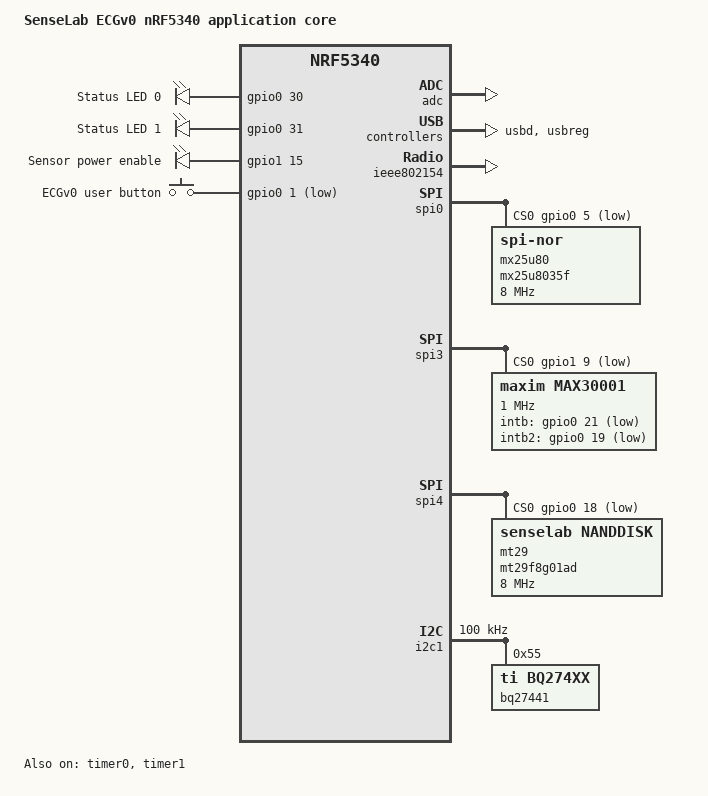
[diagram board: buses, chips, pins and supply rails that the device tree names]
/dts-v1/;

#include <nordic/nrf5340_cpuapp_qkaa.dtsi>
#include <zephyr/dt-bindings/gpio/gpio.h>
#include <zephyr/dt-bindings/i2c/i2c.h>
#include <zephyr/dt-bindings/regulator/nrf5x.h>
#include "ecgv0_nrf5340-pinctrl.dtsi"
#include "../common/nrf5340-icm20948.dtsi"

/ {
	model = "SenseLab ECGv0 nRF5340 application core";
	compatible = "senselab,ecgv0-nrf5340-cpuapp";

	chosen {
		zephyr,console = &cdc_acm_uart0;
		zephyr,shell-uart = &cdc_acm_uart0;
		zephyr,bt-hci = &bt_hci_ipc0;
		nordic,802154-spinel-ipc = &ipc0;
		zephyr,ieee802154 = &ieee802154;
		zephyr,flash = &flash0;
		zephyr,sram = &sram0_image;
		zephyr,code-partition = &slot0_partition;
		zephyr,sram-secure-partition = &sram0_s;
		zephyr,sram-non-secure-partition = &sram0_ns;
	};

	aliases {
		led0 = &led0;
		led1 = &led1;
		led2 = &ppg_power;
		user-button = &button0;
		ecg = &max30001;
		ecg-bus = &spi3;
		imu = &icm20948;
		imu-bus = &spi2;
		battery-gauge = &bq27441;
		battery-bus = &i2c1;
		storage-nand = &mt29;
		storage-nor = &mx25u80;
		spi-flash0 = &mt29;
		spi-flash1 = &mx25u80;
		gpio0 = &gpio0;
		gpio1 = &gpio1;
	};

	leds {
		compatible = "gpio-leds";

		led0: led_0 {
			gpios = <&gpio0 30 GPIO_ACTIVE_HIGH>;
			label = "Status LED 0";
		};

		led1: led_1 {
			gpios = <&gpio0 31 GPIO_ACTIVE_HIGH>;
			label = "Status LED 1";
		};

		ppg_power: ppg_power {
			gpios = <&gpio1 15 GPIO_ACTIVE_HIGH>;
			label = "Sensor power enable";
		};
	};

	buttons {
		compatible = "gpio-keys";

		button0: button_0 {
			gpios = <&gpio0 1 (GPIO_PULL_UP | GPIO_ACTIVE_LOW)>;
			label = "ECGv0 user button";
		};
	};
};

&adc { status = "okay"; };
&gpiote { status = "okay"; };
&gpio0 { status = "okay"; };
&gpio1 { status = "okay"; };
&timer0 { status = "okay"; };
&timer1 { status = "okay"; };

&uicr { nfct-pins-as-gpios; };
&vregmain { regulator-initial-mode = <NRF5X_REG_MODE_LDO>; };
&vregradio { regulator-initial-mode = <NRF5X_REG_MODE_LDO>; };
&vregh { status = "disabled"; };

&uart0 { status = "disabled"; };
zephyr_udc0: &usbd {
	compatible = "nordic,nrf-usbd";
	status = "okay";

	cdc_acm_uart0: cdc_acm_uart0 {
		compatible = "zephyr,cdc-acm-uart";
	};
};
&usbreg { status = "okay"; };

&ipc0 { status = "okay"; };
&ieee802154 { status = "okay"; };

&spi0 {
	compatible = "nordic,nrf-spim";
	status = "okay";
	cs-gpios = <&gpio0 5 GPIO_ACTIVE_LOW>;
	pinctrl-0 = <&storage_spi_default>;
	pinctrl-1 = <&storage_spi_sleep>;
	pinctrl-names = "default", "sleep";

	mx25u80: mx25u8035f@0 {
		compatible = "jedec,spi-nor";
		reg = <0>;
		size = <8388608>;
		spi-max-frequency = <8000000>;
		jedec-id = [c2 25 34];
		status = "okay";
	};
};

&spi1 { status = "disabled"; };

&spi3 {
	compatible = "nordic,nrf-spim";
	status = "okay";
	cs-gpios = <&gpio1 9 GPIO_ACTIVE_LOW>;
	pinctrl-0 = <&max30001_spi_default>;
	pinctrl-1 = <&max30001_spi_sleep>;
	pinctrl-names = "default", "sleep";

	max30001: max30001@0 {
		compatible = "maxim,max30001";
		reg = <0>;
		spi-max-frequency = <1000000>;
		intb-gpios = <&gpio0 21 GPIO_ACTIVE_LOW>;
		intb2-gpios = <&gpio0 19 GPIO_ACTIVE_LOW>;
		status = "okay";
	};
};

&spi4 {
	compatible = "nordic,nrf-spim";
	status = "okay";
	cs-gpios = <&gpio0 18 GPIO_ACTIVE_LOW>, <&gpio0 4 GPIO_ACTIVE_LOW>;
	pinctrl-0 = <&storage_spi_default>;
	pinctrl-1 = <&storage_spi_sleep>;
	pinctrl-names = "default", "sleep";

	mt29: mt29f8g01ad@0 {
		compatible = "senselab,nanddisk";
		reg = <0>;
		size = <2147483648>;
		individual-size = <1073741824>;
		num-flashchips = <2>;
		spi-max-frequency = <8000000>;
		jedec-id = [ff 2c 47];
		status = "okay";
	};
};

&qspi { status = "disabled"; };

&i2c1 {
	compatible = "nordic,nrf-twim";
	status = "okay";
	clock-frequency = <I2C_BITRATE_STANDARD>;
	pinctrl-0 = <&battery_i2c_default>;
	pinctrl-1 = <&battery_i2c_sleep>;
	pinctrl-names = "default", "sleep";

	bq27441: bq27441@55 {
		compatible = "ti,bq274xx";
		reg = <0x55>;
		design-voltage = <3700>;
		design-capacity = <200>;
		/* BQ21040 context: 9 mA exceeds its approximately 6.6-8 mA
		 * charge-complete threshold. */
		taper-current = <9>;
		terminate-voltage = <3000>;
	};
};

/* MCUboot and the application image use the SenseLab nRF5340 CPUAPP
 * flash/SRAM partition layout. This is logical SoC memory, not DK wiring. */
#include "../common/nrf5340_cpuapp_partition.dtsi"
